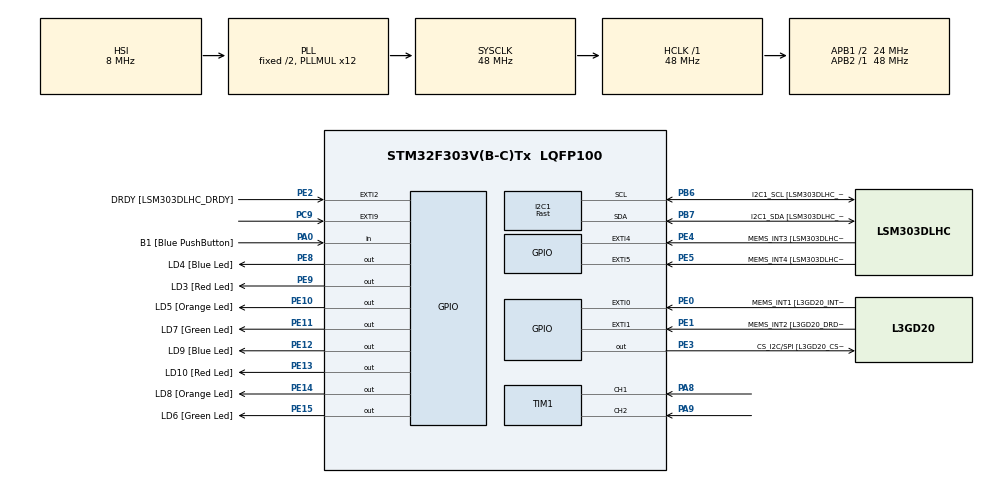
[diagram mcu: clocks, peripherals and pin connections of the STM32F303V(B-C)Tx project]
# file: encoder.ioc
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I2C1.I2C_Speed_Mode=I2C_Fast
I2C1.Timing=0x0000020B
Mcu.Family=STM32F3
Mcu.Name=STM32F303V(B-C)Tx
Mcu.Package=LQFP100
NVIC.EXTI9_5_IRQn=true\:0\:0\:false\:false\:true\:true\:true
NVIC.PriorityGroup=NVIC_PRIORITYGROUP_0
PA0.GPIO_Label=B1 [Blue PushButton]
PA0.GPIO_Mode=GPIO_MODE_INPUT
PA0.GPIO_PuPd=GPIO_NOPULL
PA0.Signal=GPIO_Input
PA14.GPIO_Label=SWCLK
PA14.Signal=SYS_JTCK-SWCLK
PA5.GPIO_Label=SPI1_SCK [L3GD20_SCL/SPC]
PA5.GPIO_Mode=GPIO_MODE_AF_PP
PA5.GPIO_PuPd=GPIO_NOPULL
PA5.GPIO_Speed=GPIO_SPEED_FREQ_LOW
PA5.Signal=SPI1_SCK
PA6.GPIO_Label=SPI1_MISO [L3GD20_SA0/SDO]
PA6.GPIO_Mode=GPIO_MODE_AF_PP
PA6.GPIO_PuPd=GPIO_NOPULL
PA6.GPIO_Speed=GPIO_SPEED_FREQ_LOW
PA6.Signal=SPI1_MISO
PA7.GPIO_Label=SPI1_MISO [L3GD20_SDA/SDI/SDO]
PA7.GPIO_Mode=GPIO_MODE_AF_PP
PA7.GPIO_PuPd=GPIO_NOPULL
PA7.GPIO_Speed=GPIO_SPEED_FREQ_LOW
PA7.Signal=SPI1_MOSI
PA8.Signal=S_TIM1_CH1
PA9.Signal=S_TIM1_CH2
PB3.GPIO_Label=SWO
PB3.Signal=SYS_JTDO-TRACESWO
PB6.GPIO_FM6=SYSCFG_CFGR1_I2C_PB6_FMP
PB6.GPIO_Label=I2C1_SCL [LSM303DLHC_SCL]
PB6.GPIO_Mode=GPIO_MODE_AF_OD
PB6.GPIO_PuPd=GPIO_NOPULL
PB6.GPIO_Speed=GPIO_SPEED_FREQ_HIGH
PB6.Mode=I2C
PB6.Signal=I2C1_SCL
PB7.GPIO_FM7=SYSCFG_CFGR1_I2C_PB7_FMP
PB7.GPIO_Label=I2C1_SDA [LSM303DLHC_SDA]
PB7.GPIO_Mode=GPIO_MODE_AF_OD
PB7.GPIO_PuPd=GPIO_NOPULL
PB7.GPIO_Speed=GPIO_SPEED_FREQ_HIGH
PB7.Mode=I2C
PB7.Signal=I2C1_SDA
PC14-OSC32_IN.GPIO_Label=OSC32_IN
PC14-OSC32_IN.Signal=RCC_OSC32_IN
PC15-OSC32_OUT.GPIO_Label=OSC32_OUT
PC15-OSC32_OUT.Signal=RCC_OSC32_OUT
PC9.Signal=GPXTI9
PE0.GPIO_Label=MEMS_INT1 [L3GD20_INT1]
PE0.GPIO_ModeDefaultEXTI=GPIO_MODE_EVT_RISING
PE0.GPIO_PuPd=GPIO_NOPULL
PE0.Signal=GPXTI0
PE1.GPIO_Label=MEMS_INT2 [L3GD20_DRDY/INT2]
PE1.GPIO_ModeDefaultEXTI=GPIO_MODE_EVT_RISING
PE1.GPIO_PuPd=GPIO_NOPULL
PE1.Signal=GPXTI1
PE10.GPIO_Label=LD5 [Orange Led]
PE10.GPIO_ModeDefaultOutputPP=GPIO_MODE_OUTPUT_PP
PE10.GPIO_PuPd=GPIO_NOPULL
PE10.GPIO_Speed=GPIO_SPEED_FREQ_LOW
PE10.Signal=GPIO_Output
PE11.GPIO_Label=LD7 [Green Led]
PE11.GPIO_ModeDefaultOutputPP=GPIO_MODE_OUTPUT_PP
PE11.GPIO_PuPd=GPIO_NOPULL
PE11.GPIO_Speed=GPIO_SPEED_FREQ_LOW
PE11.Signal=GPIO_Output
PE12.GPIO_Label=LD9 [Blue Led]
PE12.GPIO_ModeDefaultOutputPP=GPIO_MODE_OUTPUT_PP
PE12.GPIO_PuPd=GPIO_NOPULL
PE12.GPIO_Speed=GPIO_SPEED_FREQ_LOW
PE12.Signal=GPIO_Output
PE13.GPIO_Label=LD10 [Red Led]
PE13.GPIO_ModeDefaultOutputPP=GPIO_MODE_OUTPUT_PP
PE13.GPIO_PuPd=GPIO_NOPULL
PE13.GPIO_Speed=GPIO_SPEED_FREQ_LOW
PE13.Signal=GPIO_Output
PE14.GPIO_Label=LD8 [Orange Led]
PE14.GPIO_ModeDefaultOutputPP=GPIO_MODE_OUTPUT_PP
PE14.GPIO_PuPd=GPIO_NOPULL
PE14.GPIO_Speed=GPIO_SPEED_FREQ_LOW
PE14.Signal=GPIO_Output
PE15.GPIO_Label=LD6 [Green Led]
PE15.GPIO_ModeDefaultOutputPP=GPIO_MODE_OUTPUT_PP
PE15.GPIO_PuPd=GPIO_NOPULL
PE15.GPIO_Speed=GPIO_SPEED_FREQ_LOW
PE15.Signal=GPIO_Output
PE2.GPIO_Label=DRDY [LSM303DLHC_DRDY]
PE2.GPIO_ModeDefaultEXTI=GPIO_MODE_EVT_RISING
PE2.GPIO_PuPd=GPIO_NOPULL
PE2.Signal=GPXTI2
PE3.GPIO_Label=CS_I2C/SPI [L3GD20_CS_I2C/SPI]
PE3.GPIO_ModeDefaultOutputPP=GPIO_MODE_OUTPUT_PP
PE3.GPIO_PuPd=GPIO_NOPULL
PE3.GPIO_Speed=GPIO_SPEED_FREQ_LOW
PE3.Signal=GPIO_Output
PE4.GPIO_Label=MEMS_INT3 [LSM303DLHC_INT1]
PE4.GPIO_ModeDefaultEXTI=GPIO_MODE_EVT_RISING
PE4.GPIO_PuPd=GPIO_NOPULL
PE4.Signal=GPXTI4
PE5.GPIO_Label=MEMS_INT4 [LSM303DLHC_INT2]
PE5.GPIO_ModeDefaultEXTI=GPIO_MODE_EVT_RISING
PE5.GPIO_PuPd=GPIO_NOPULL
PE5.Signal=GPXTI5
PE8.GPIO_Label=LD4 [Blue Led]
PE8.GPIO_ModeDefaultOutputPP=GPIO_MODE_OUTPUT_PP
PE8.GPIO_PuPd=GPIO_NOPULL
PE8.GPIO_Speed=GPIO_SPEED_FREQ_LOW
PE8.Signal=GPIO_Output
PE9.GPIO_Label=LD3 [Red Led]
PE9.GPIO_ModeDefaultOutputPP=GPIO_MODE_OUTPUT_PP
PE9.GPIO_PuPd=GPIO_NOPULL
PE9.GPIO_Speed=GPIO_SPEED_FREQ_LOW
PE9.Signal=GPIO_Output
PF0-OSC_IN.GPIO_Label=OSC_IN
PF0-OSC_IN.Signal=RCC_OSC_IN
PF1-OSC_OUT.GPIO_Label=OSC_OUT
PF1-OSC_OUT.Signal=RCC_OSC_OUT
ProjectManager.HeapSize=0x200
ProjectManager.StackSize=0x400
ProjectManager.TargetToolchain=STM32CubeIDE
RCC.AHBFreq_Value=48000000
RCC.APB1CLKDivider=RCC_HCLK_DIV2
RCC.APB1Freq_Value=24000000
RCC.APB1TimFreq_Value=48000000
RCC.APB2Freq_Value=48000000
RCC.APB2TimFreq_Value=48000000
RCC.CortexFreq_Value=48000000
RCC.HCLKFreq_Value=48000000
RCC.HSE_VALUE=8000000
RCC.HSI_VALUE=8000000
RCC.LSE_VALUE=32768
RCC.PLLMUL=RCC_PLL_MUL12
RCC.SYSCLKFreq_VALUE=48000000
RCC.SYSCLKSourceVirtual=RCC_SYSCLKSOURCE_PLLCLK
RCC.USBFreq_Value=48000000
SH.S_TIM1_CH1.0=TIM1_CH1,Encoder_Interface
SH.S_TIM1_CH2.0=TIM1_CH2,Encoder_Interface
board=STM32F3DISCOVERY

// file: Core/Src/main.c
/* USER CODE BEGIN Header */
/**
  ******************************************************************************
  * @file           : main.c
  * @brief          : Main program body
  ******************************************************************************
  * @attention
  *
  * Copyright (c) 2024 STMicroelectronics.
  * All rights reserved.
  *
  * This software is licensed under terms that can be found in the LICENSE file
  * in the root directory of this software component.
  * If no LICENSE file comes with this software, it is provided AS-IS.
  *
  ******************************************************************************
  */
/* USER CODE END Header */
#include "main.h"

/* USER CODE BEGIN Includes */
#include "gifs.h"
#include "ssd1306.h"
#include "fonts.h"
#include "bitmaps.h"

#include <String.h>
/* USER CODE END Includes */

/* USER CODE BEGIN PM */
int32_t prevCounter = 0;
/* USER CODE END PM */

I2C_HandleTypeDef hi2c1;

TIM_HandleTypeDef htim1;

void SystemClock_Config(void);
static void MX_GPIO_Init(void);
static void MX_I2C1_Init(void);
static void MX_TIM1_Init(void);

/* USER CODE BEGIN 0 */
int pos = 0;
char temp[10];

void HAL_GPIO_EXTI_Callback(uint16_t GPIO_Pin)
{

  if(GPIO_Pin == GPIO_PIN_9) {
    pos = 0;
    sprintf(temp, "%d", pos);
    SSD1306_Clear();
	SSD1306_GotoXY (0,0);
    SSD1306_Puts (temp, &Font_7x10, 1);
    SSD1306_UpdateScreen();

  } else{

    __NOP();

  }
}

/* USER CODE END 0 */

int main(void)
{

  /* MCU Configuration--------------------------------------------------------*/

  /* Reset of all peripherals, Initializes the Flash interface and the Systick. */
  HAL_Init();

  /* Configure the system clock */
  SystemClock_Config();

  /* Initialize all configured peripherals */
  MX_GPIO_Init();
  MX_I2C1_Init();
  MX_TIM1_Init();
  /* USER CODE BEGIN 2 */
  SSD1306_Init();

  HAL_TIM_Encoder_Start(&htim1, TIM_CHANNEL_ALL);

  /* USER CODE END 2 */

  /* Infinite loop */
  /* USER CODE BEGIN WHILE */
  while (1)
  {

	  int32_t currCounter = __HAL_TIM_GET_COUNTER(&htim1);
	      currCounter = 32767 - ((currCounter-1) & 0xFFFF) / 2;
	      if(currCounter > 32768/2) {
	          // Преобразуем значения счетчика из:
	          //  ... 32766, 32767, 0, 1, 2 ...
	          // в значения:
	          //  ... -2, -1, 0, 1, 2 ...
	          currCounter = currCounter - 32768;
	      }
	      if(currCounter != prevCounter) {
	          int32_t delta = currCounter-prevCounter;
	          prevCounter = currCounter;
	          // защита от дребезга контактов и переполнения счетчика
	          // (переполнение будет случаться очень редко)
	          if((delta > -10) && (delta < 10)) {
	              // здесь обрабатываем поворот энкодера на delta щелчков
	              // delta положительная или отрицательная в зависимости
	              // от направления вращения
	        	  pos+=delta;
	        	  sprintf(temp, "%d", pos);
	        	  SSD1306_Clear();
	        	  	  			SSD1306_GotoXY (0,0);
	        	  	  			SSD1306_Puts (temp, &Font_7x10, 1);
	        	  	  			SSD1306_UpdateScreen();

	              // ...
	          }
	      }

	  //

    /* USER CODE END WHILE */

  }
}

void SystemClock_Config(void)
{
  RCC_OscInitTypeDef RCC_OscInitStruct = {0};
  RCC_ClkInitTypeDef RCC_ClkInitStruct = {0};
  RCC_PeriphCLKInitTypeDef PeriphClkInit = {0};

  /** Initializes the RCC Oscillators according to the specified parameters
  * in the RCC_OscInitTypeDef structure.
  */
  RCC_OscInitStruct.OscillatorType = RCC_OSCILLATORTYPE_HSI;
  RCC_OscInitStruct.HSIState = RCC_HSI_ON;
  RCC_OscInitStruct.HSICalibrationValue = RCC_HSICALIBRATION_DEFAULT;
  RCC_OscInitStruct.PLL.PLLState = RCC_PLL_ON;
  RCC_OscInitStruct.PLL.PLLSource = RCC_PLLSOURCE_HSI;
  RCC_OscInitStruct.PLL.PLLMUL = RCC_PLL_MUL12;
  if (HAL_RCC_OscConfig(&RCC_OscInitStruct) != HAL_OK)
  {
    Error_Handler();
  }
  /** Initializes the CPU, AHB and APB buses clocks
  */
  RCC_ClkInitStruct.ClockType = RCC_CLOCKTYPE_HCLK|RCC_CLOCKTYPE_SYSCLK
                              |RCC_CLOCKTYPE_PCLK1|RCC_CLOCKTYPE_PCLK2;
  RCC_ClkInitStruct.SYSCLKSource = RCC_SYSCLKSOURCE_PLLCLK;
  RCC_ClkInitStruct.AHBCLKDivider = RCC_SYSCLK_DIV1;
  RCC_ClkInitStruct.APB1CLKDivider = RCC_HCLK_DIV2;
  RCC_ClkInitStruct.APB2CLKDivider = RCC_HCLK_DIV1;

  if (HAL_RCC_ClockConfig(&RCC_ClkInitStruct, FLASH_LATENCY_1) != HAL_OK)
  {
    Error_Handler();
  }
  PeriphClkInit.PeriphClockSelection = RCC_PERIPHCLK_I2C1|RCC_PERIPHCLK_TIM1;
  PeriphClkInit.I2c1ClockSelection = RCC_I2C1CLKSOURCE_HSI;
  PeriphClkInit.Tim1ClockSelection = RCC_TIM1CLK_HCLK;
  if (HAL_RCCEx_PeriphCLKConfig(&PeriphClkInit) != HAL_OK)
  {
    Error_Handler();
  }
}

static void MX_I2C1_Init(void)
{

  hi2c1.Instance = I2C1;
  hi2c1.Init.Timing = 0x0000020B;
  hi2c1.Init.OwnAddress1 = 0;
  hi2c1.Init.AddressingMode = I2C_ADDRESSINGMODE_7BIT;
  hi2c1.Init.DualAddressMode = I2C_DUALADDRESS_DISABLE;
  hi2c1.Init.OwnAddress2 = 0;
  hi2c1.Init.OwnAddress2Masks = I2C_OA2_NOMASK;
  hi2c1.Init.GeneralCallMode = I2C_GENERALCALL_DISABLE;
  hi2c1.Init.NoStretchMode = I2C_NOSTRETCH_DISABLE;
  if (HAL_I2C_Init(&hi2c1) != HAL_OK)
  {
    Error_Handler();
  }
  /** Configure Analogue filter
  */
  if (HAL_I2CEx_ConfigAnalogFilter(&hi2c1, I2C_ANALOGFILTER_ENABLE) != HAL_OK)
  {
    Error_Handler();
  }
  /** Configure Digital filter
  */
  if (HAL_I2CEx_ConfigDigitalFilter(&hi2c1, 0) != HAL_OK)
  {
    Error_Handler();
  }

}

static void MX_TIM1_Init(void)
{

  TIM_Encoder_InitTypeDef sConfig = {0};
  TIM_MasterConfigTypeDef sMasterConfig = {0};

  htim1.Instance = TIM1;
  htim1.Init.Prescaler = 0;
  htim1.Init.CounterMode = TIM_COUNTERMODE_UP;
  htim1.Init.Period = 65535;
  htim1.Init.ClockDivision = TIM_CLOCKDIVISION_DIV1;
  htim1.Init.RepetitionCounter = 0;
  htim1.Init.AutoReloadPreload = TIM_AUTORELOAD_PRELOAD_DISABLE;
  sConfig.EncoderMode = TIM_ENCODERMODE_TI1;
  sConfig.IC1Polarity = TIM_ICPOLARITY_RISING;
  sConfig.IC1Selection = TIM_ICSELECTION_DIRECTTI;
  sConfig.IC1Prescaler = TIM_ICPSC_DIV1;
  sConfig.IC1Filter = 0;
  sConfig.IC2Polarity = TIM_ICPOLARITY_RISING;
  sConfig.IC2Selection = TIM_ICSELECTION_DIRECTTI;
  sConfig.IC2Prescaler = TIM_ICPSC_DIV1;
  sConfig.IC2Filter = 0;
  if (HAL_TIM_Encoder_Init(&htim1, &sConfig) != HAL_OK)
  {
    Error_Handler();
  }
  sMasterConfig.MasterOutputTrigger = TIM_TRGO_RESET;
  sMasterConfig.MasterOutputTrigger2 = TIM_TRGO2_RESET;
  sMasterConfig.MasterSlaveMode = TIM_MASTERSLAVEMODE_DISABLE;
  if (HAL_TIMEx_MasterConfigSynchronization(&htim1, &sMasterConfig) != HAL_OK)
  {
    Error_Handler();
  }

}

static void MX_GPIO_Init(void)
{
  GPIO_InitTypeDef GPIO_InitStruct = {0};

  /* GPIO Ports Clock Enable */
  __HAL_RCC_GPIOE_CLK_ENABLE();
  __HAL_RCC_GPIOC_CLK_ENABLE();
  __HAL_RCC_GPIOF_CLK_ENABLE();
  __HAL_RCC_GPIOA_CLK_ENABLE();
  __HAL_RCC_GPIOB_CLK_ENABLE();

  /*Configure GPIO pin Output Level */
  HAL_GPIO_WritePin(GPIOE, CS_I2C_SPI_Pin|LD4_Pin|LD3_Pin|LD5_Pin
                          |LD7_Pin|LD9_Pin|LD10_Pin|LD8_Pin
                          |LD6_Pin, GPIO_PIN_RESET);

  /*Configure GPIO pins : DRDY_Pin MEMS_INT3_Pin MEMS_INT4_Pin MEMS_INT1_Pin
                           MEMS_INT2_Pin */
  GPIO_InitStruct.Pin = DRDY_Pin|MEMS_INT3_Pin|MEMS_INT4_Pin|MEMS_INT1_Pin
                          |MEMS_INT2_Pin;
  GPIO_InitStruct.Mode = GPIO_MODE_EVT_RISING;
  GPIO_InitStruct.Pull = GPIO_NOPULL;
  HAL_GPIO_Init(GPIOE, &GPIO_InitStruct);

  /*Configure GPIO pins : CS_I2C_SPI_Pin LD4_Pin LD3_Pin LD5_Pin
                           LD7_Pin LD9_Pin LD10_Pin LD8_Pin
                           LD6_Pin */
  GPIO_InitStruct.Pin = CS_I2C_SPI_Pin|LD4_Pin|LD3_Pin|LD5_Pin
                          |LD7_Pin|LD9_Pin|LD10_Pin|LD8_Pin
                          |LD6_Pin;
  GPIO_InitStruct.Mode = GPIO_MODE_OUTPUT_PP;
  GPIO_InitStruct.Pull = GPIO_NOPULL;
  GPIO_InitStruct.Speed = GPIO_SPEED_FREQ_LOW;
  HAL_GPIO_Init(GPIOE, &GPIO_InitStruct);

  /*Configure GPIO pin : B1_Pin */
  GPIO_InitStruct.Pin = B1_Pin;
  GPIO_InitStruct.Mode = GPIO_MODE_INPUT;
  GPIO_InitStruct.Pull = GPIO_NOPULL;
  HAL_GPIO_Init(B1_GPIO_Port, &GPIO_InitStruct);

  /*Configure GPIO pins : SPI1_SCK_Pin SPI1_MISO_Pin SPI1_MISOA7_Pin */
  GPIO_InitStruct.Pin = SPI1_SCK_Pin|SPI1_MISO_Pin|SPI1_MISOA7_Pin;
  GPIO_InitStruct.Mode = GPIO_MODE_AF_PP;
  GPIO_InitStruct.Pull = GPIO_NOPULL;
  GPIO_InitStruct.Speed = GPIO_SPEED_FREQ_LOW;
  GPIO_InitStruct.Alternate = GPIO_AF5_SPI1;
  HAL_GPIO_Init(GPIOA, &GPIO_InitStruct);

  /*Configure GPIO pin : PC9 */
  GPIO_InitStruct.Pin = GPIO_PIN_9;
  GPIO_InitStruct.Mode = GPIO_MODE_IT_RISING;
  GPIO_InitStruct.Pull = GPIO_NOPULL;
  HAL_GPIO_Init(GPIOC, &GPIO_InitStruct);

  /* EXTI interrupt init*/
  HAL_NVIC_SetPriority(EXTI9_5_IRQn, 0, 0);
  HAL_NVIC_EnableIRQ(EXTI9_5_IRQn);

}

void Error_Handler(void)
{
  __disable_irq();
  while (1)
  {
  }
}
